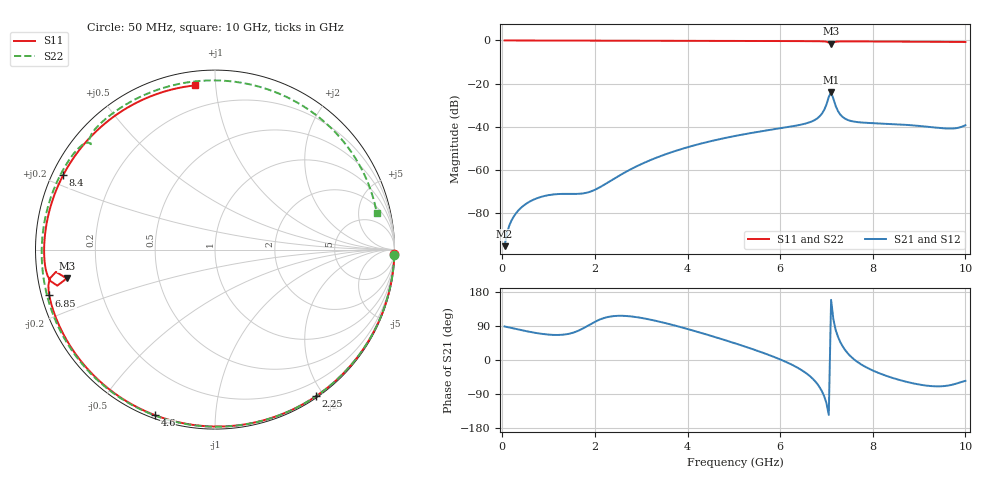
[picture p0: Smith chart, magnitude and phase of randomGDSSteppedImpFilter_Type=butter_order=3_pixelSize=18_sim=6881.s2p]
! freq	dB(S11)	phase(S11)	dB(S12)	phase(S12)
!  dB(S21)	phase(S21)	dB(S22)	phase(S22)
!S-par simulation data
#  GHz  S  DB  R 50
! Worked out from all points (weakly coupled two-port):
!   200 points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, 50 MHz to 10 GHz, reference 50 ohm
!   highest |S21| = -24.01 dB at 7.1 GHz (marker M1); lowest = -95.4 dB at 50 MHz (marker M2)
!   lowest |S11| = -1.5 dB at 7.1 GHz (marker M3), VSWR 11.65, Z = 4.33 - j4.78 ohm
!   |S11| at or under -10 dB: nowhere
!   |S22| runs from -0.8 to 0.0 dB; largest |S21 - S12| = 0
!   S11 on the Smith chart (normalised r, x): 50 MHz: 0, -90; 2.25 GHz: 0.02, -1.90; 4.6 GHz: 0.01, -0.70; 6.85 GHz: 0.02, -0.14; 8.4 GHz: 0.03, +0.23; 10 GHz: 0.07, +0.88
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0.05  -0.00 -1.3  -95.37 88.5  -95.37 88.5  -0.00 -1.6
0.3  -0.01 -7.6  -80.00 81.7  -80.00 81.7  -0.01 -9.5
0.55  -0.02 -13.8  -75.22 75.3  -75.22 75.3  -0.02 -17.4
0.9  -0.03 -22.5  -72.15 68.3  -72.15 68.3  -0.04 -28.4
1.75  -0.06 -43.4  -70.89 83.8  -70.89 83.8  -0.07 -54.6
2.25  -0.07 -55.4  -66.24 112.6  -66.24 112.6  -0.09 -69.7
3.4  -0.11 -82.5  -53.75 101.0  -53.75 101.0  -0.14 -103.5
4.6  -0.16 -110.0  -46.20 60.3  -46.20 60.3  -0.20 -138.5
5.05  -0.19 -120.3  -44.18 43.1  -44.18 43.1  -0.23 -151.9
5.9  -0.25 -140.2  -41.06 6.5  -41.06 6.5  -0.30 -178.6
6.7  -0.33 -160.2  -37.39 -49.0  -37.39 -49.0  -0.38 153.7
6.85  -0.37 -164.5  -35.24 -71.4  -35.24 -71.4  -0.41 148.0
6.95  -0.45 -167.9  -32.24 -95.4  -32.24 -95.4  -0.45 144.0
7.1  -1.50 -169.0  -24.01 158.7  -24.01 158.7  -0.85 139.7
7.25  -0.50 -171.2  -32.81 60.6  -32.81 60.6  -0.47 134.4
7.4  -0.43 -176.2  -36.25 26.9  -36.25 26.9  -0.45 128.1
7.9  -0.46 169.1  -38.23 -21.9  -38.23 -21.9  -0.48 107.2
8.35  -0.51 155.5  -38.66 -44.2  -38.66 -44.2  -0.52 87.6
8.4  -0.52 154.0  -38.71 -46.2  -38.71 -46.2  -0.52 85.3
9.1  -0.61 130.7  -39.82 -66.6  -39.82 -66.6  -0.56 53.4
9.7  -0.68 108.7  -40.84 -65.7  -40.84 -65.7  -0.62 26.0
10  -0.71 96.9  -39.29 -55.0  -39.29 -55.0  -0.69 12.8
